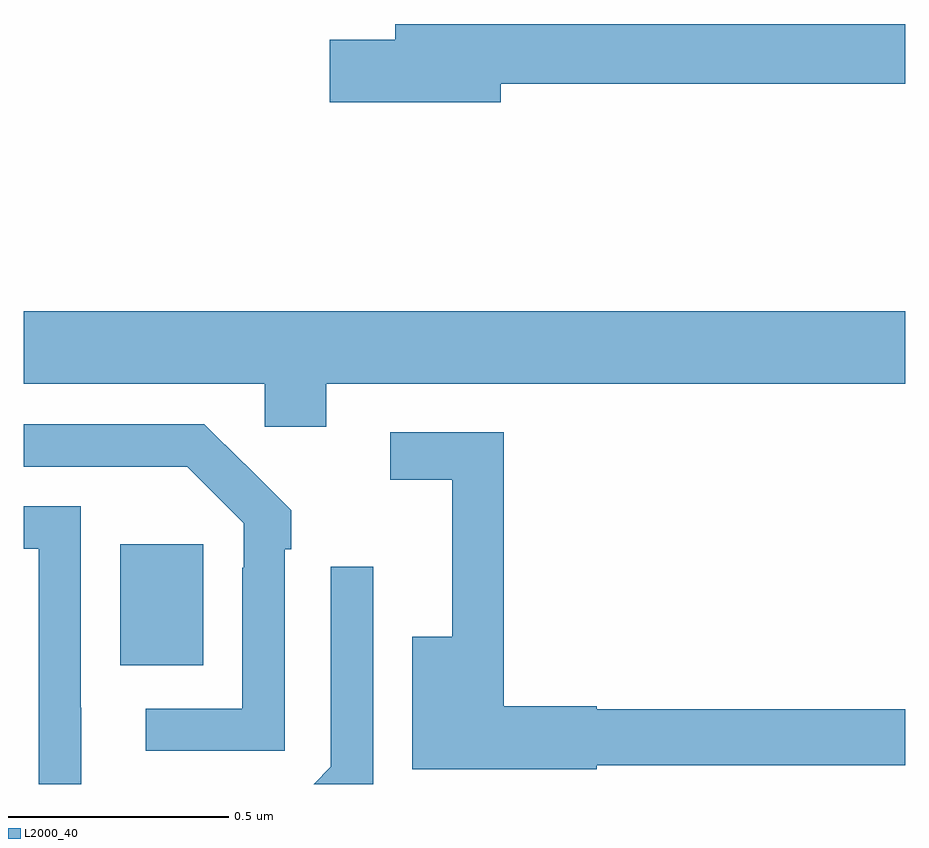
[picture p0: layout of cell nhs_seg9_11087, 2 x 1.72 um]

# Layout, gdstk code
import gdstk
lib = gdstk.Library(unit=1e-6, precision=1e-09)
def R(c, l, rs):  # rectangles x0, y0, x1, y1
    for r in rs: c.add(gdstk.rectangle(r[:2], r[2:], *l))
def P(c, l, *ps):  # polygons
    for p in ps: c.add(gdstk.Polygon(p, *l))
L2000_40 = (2000, 40)

nhs_seg9_11087 = lib.new_cell('nhs_seg9_11087')
R(nhs_seg9_11087, L2000_40, [(251.219,1207.769,251.407,1208.044)])
P(nhs_seg9_11087, L2000_40, [(252.082,1209.088),(253,1209.088),(253,1209.224),(251.843,1209.224),(251.843,1209.188),(251.694,1209.188),(251.694,1209.046),(252.082,1209.046)],
  [(251.686,1208.408),(253,1208.408),(253,1208.572),(251,1208.572),(251,1208.408),(251.547,1208.408),(251.547,1208.31),(251.686,1208.31)],
  [(251.592,1208.033),(251.607,1208.033),(251.607,1208.121),(251.502,1208.226),(251.501,1208.225),(251.41,1208.316),(251,1208.316),(251,1208.22),(251.371,1208.22),(251.499,1208.091),(251.499,1207.991),(251.496,1207.991),(251.496,1207.671),(251.277,1207.671),(251.277,1207.575),(251.592,1207.575)],
  [(252.3,1207.542),(253,1207.542),(253,1207.67),(252.3,1207.67),(252.3,1207.676),(252.089,1207.676),(252.089,1208.298),(251.832,1208.298),(251.832,1208.19),(251.972,1208.19),(251.972,1207.834),(251.882,1207.834),(251.882,1207.534),(252.3,1207.534)],
  [(251.131,1207.673),(251.13,1207.673),(251.13,1208.13),(251,1208.13),(251,1208.034),(251.034,1208.034),(251.034,1207.5),(251.131,1207.5)],
  [(251.793,1207.993),(251.697,1207.993),(251.697,1207.539),(251.658,1207.5),(251.793,1207.5)])

lib.write_gds('nhs_seg9_11087.gds')
